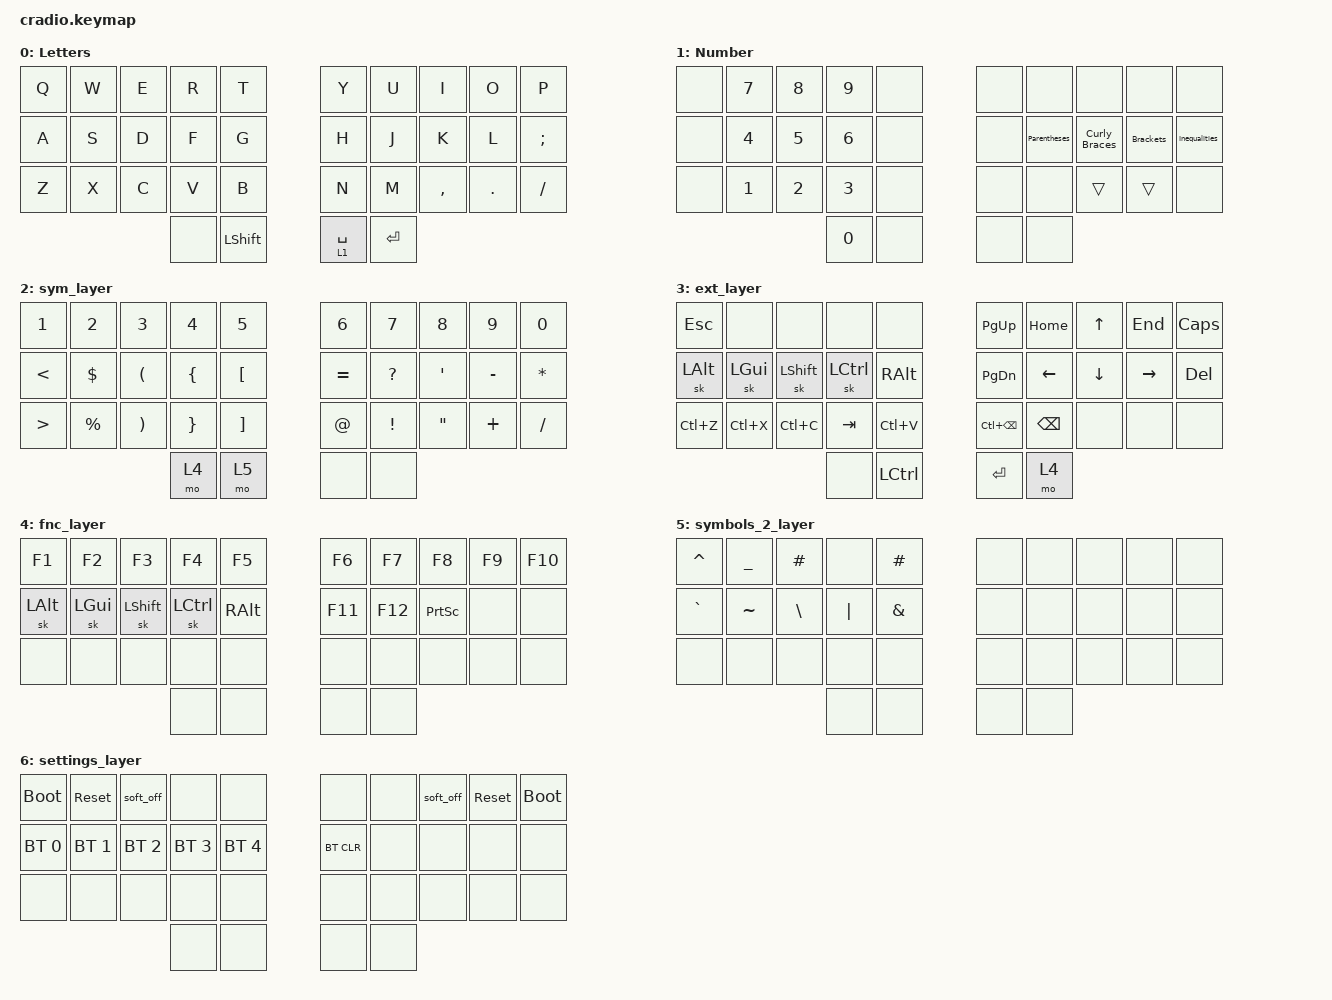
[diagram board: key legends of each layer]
/*
 * Copyright (c) 2020 The ZMK Contributors
 *
 * SPDX-License-Identifier: MIT
 */

#include <behaviors.dtsi>
#include <dt-bindings/zmk/bt.h>
#include <dt-bindings/zmk/keys.h>

// NOTE: Removed Italian layout include for pure US output.
// #include "keymap_italian.h"
// Layer definitions

#define BASE 0
#define SYM 1
#define EXT 2
#define FNC 3
#define SYM2 4
#define ACCENT 5
#define SETTINGS 6

// -----------------

/ {
    macros {
        // sometimes my device thinks a modifier is being held down
        // pressing all modifiers fixes it.

        Hyper: Hyper {
            compatible = "zmk,behavior-macro";
            #binding-cells = <0>;
            bindings = <&kp LEFT_ALT &kp LCTRL &kp LSHIFT &kp LEFT_GUI>;
            label = "HYPER";
        };
    };

    combos {
        compatible = "zmk,combos";

        // both right thumb keys
        // internal-left & external-right thumb keys
        // both left thumb keys
    };

    behaviors {
        Inequalities: Inequalities {
            compatible = "zmk,behavior-tap-dance";
            label = "INEQUALITIES";
            #binding-cells = <0>;
            bindings = <&kp LT>, <&kp GT>;
        };

        Parentheses: Parentheses {
            compatible = "zmk,behavior-tap-dance";
            label = "PARENTHESES";
            #binding-cells = <0>;
            bindings = <&kp LPAR>, <&kp RPAR>;
        };

        Curly_Braces: Curly_Braces {
            compatible = "zmk,behavior-tap-dance";
            label = "CURLY_BRACES";
            #binding-cells = <0>;
            bindings = <&kp LBRC>, <&kp RBRC>;
        };

        Brackets: Brackets {
            compatible = "zmk,behavior-tap-dance";
            label = "BRACKETS";
            #binding-cells = <0>;
            bindings = <&kp LBKT>, <&kp RBKT>;
        };

        Soft_Off_Both: Soft_Off_Both {
            compatible = "zmk,behavior-soft-off";
            label = "SOFT_OFF_BOTH";
            #binding-cells = <0>;
            split-peripheral-off-on-press;
        };
    };

    keymap {
        compatible = "zmk,keymap";

        // Base alpha layer

        Letters {
            bindings = <
&kp Q  &kp W  &kp E  &kp R  &kp T         &kp Y        &kp U       &kp I      &kp O    &kp P
&kp A  &kp S  &kp D  &kp F  &kp G         &kp H        &kp J       &kp K      &kp L    &kp SEMI
&kp Z  &kp X  &kp C  &kp V  &kp B         &kp N        &kp M       &kp COMMA  &kp DOT  &kp SLASH
                     &none  &kp LSHIFT    &lt 1 SPACE  &kp RETURN
            >;

            label = "Letters";
        };

        Number {
            bindings = <
&none  &kp N7        &kp N8        &kp N9        &none    &none  &none         &none          &none      &none
&none  &kp NUMBER_4  &kp N5        &kp NUMBER_6  &none    &none  &Parentheses  &Curly_Braces  &Brackets  &Inequalities
&none  &kp NUMBER_1  &kp NUMBER_2  &kp NUMBER_3  &none    &none  &none         &trans         &trans     &none
                                   &kp N0        &none    &none  &none
            >;

            label = "Number";
        };

        sym_layer {
            bindings = <
&kp N1  &kp N2     &kp N3    &kp N4    &kp N5      &kp N6     &kp N7     &kp N8   &kp N9     &kp N0
&kp LT  &kp DLLR   &kp LPAR  &kp LBRC  &kp LBKT    &kp EQUAL  &kp QMARK  &kp SQT  &kp MINUS  &kp ASTRK
&kp GT  &kp PRCNT  &kp RPAR  &kp RBRC  &kp RBKT    &kp AT     &kp EXCL   &kp DQT  &kp PLUS   &kp FSLH
                             &mo 4     &mo 5       &none      &none
            >;
        };

        ext_layer {
            bindings = <
&kp ESC    &none      &none       &none      &none        &kp PG_UP     &kp HOME  &kp UP    &kp END    &kp CAPS
&sk LALT   &sk LGUI   &sk LSHIFT  &sk LCTRL  &kp RALT     &kp PG_DN     &kp LEFT  &kp DOWN  &kp RIGHT  &kp DEL
&kp LC(Z)  &kp LC(X)  &kp LC(C)   &kp TAB    &kp LC(V)    &kp LC(BSPC)  &kp BSPC  &none     &none      &none
                                  &none      &kp LCTRL    &kp ENTER     &mo 4
            >;
        };

        fnc_layer {
            bindings = <
&kp F1    &kp F2    &kp F3      &kp F4     &kp F5      &kp F6   &kp F7   &kp F8           &kp F9  &kp F10
&sk LALT  &sk LGUI  &sk LSHIFT  &sk LCTRL  &kp RALT    &kp F11  &kp F12  &kp PRINTSCREEN  &none   &none
&none     &none     &none       &none      &none       &none    &none    &none            &none   &none
                                &none      &none       &none    &none
            >;
        };

        symbols_2_layer {
            bindings = <
&kp CARET  &kp UNDER  &kp HASH  &none     &kp HASH    &none  &none  &none  &none  &none
&kp GRAVE  &kp TILDE  &kp BSLH  &kp PIPE  &kp AMPS    &none  &none  &none  &none  &none
&none      &none      &none     &none     &none       &none  &none  &none  &none  &none
                                &none     &none       &none  &none
            >;
        };

        settings_layer {
            bindings = <
&bootloader   &sys_reset    &soft_off     &none         &none           &none       &none  &soft_off  &sys_reset  &bootloader
&bt BT_SEL 0  &bt BT_SEL 1  &bt BT_SEL 2  &bt BT_SEL 3  &bt BT_SEL 4    &bt BT_CLR  &none  &none      &none       &none
&none         &none         &none         &none         &none           &none       &none  &none      &none       &none
                                          &none         &none           &none       &none
            >;
        };
    };
};
